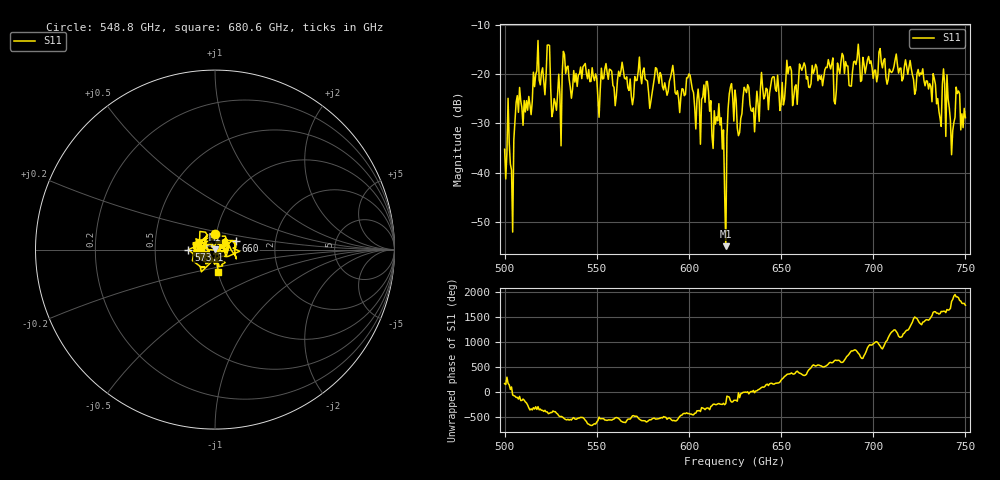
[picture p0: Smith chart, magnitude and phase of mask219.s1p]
!Created with skrf (http://scikit-rf.org).
# GHz S MA R 50.0
!freq magS11 angS11
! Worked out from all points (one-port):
!   401 points, 500 GHz to 750 GHz, reference 50 ohm
!   lowest |S11| = -54.8 dB at 620 GHz (marker M1), VSWR 1.00, Z = 49.9 + j0.13 ohm
!   |S11| at or under -10 dB: start of sweep to end of sweep
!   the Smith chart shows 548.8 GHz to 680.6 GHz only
!   S11 on the Smith chart (normalised r, x): 548.8 GHz: 0.99, +0.17; 573.1 GHz: 0.74, -0.00; 660 GHz: 1.26, +0.13; 680.6 GHz: 1.01, -0.26
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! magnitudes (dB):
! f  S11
! 500 GHz  -35.2
! 503.8 GHz  -39.4
! 506.9 GHz  -24.4
! 513.8 GHz  -26.2
! 516.9 GHz  -20.1
! 523.8 GHz  -14.1
! 526.9 GHz  -25.0
! 531.2 GHz  -19.8
! 548.8 GHz  -21.3
! 562.5 GHz  -20.5
! 573.1 GHz  -16.6
! 593.8 GHz  -23.4
! 600 GHz  -20.0
! 605 GHz  -23.0
! 609.4 GHz  -21.5
! 620 GHz  -54.8
! 622.5 GHz  -22.7
! 625 GHz  -23.2
! 656.2 GHz  -26.4
! 660 GHz  -18.0
! 680.6 GHz  -17.8
! 687.5 GHz  -22.4
! 718.8 GHz  -20.1
! 735.6 GHz  -27.5
! 738.8 GHz  -22.0
! 743.1 GHz  -31.5
! 745.6 GHz  -23.9
! 750 GHz  -28.8
